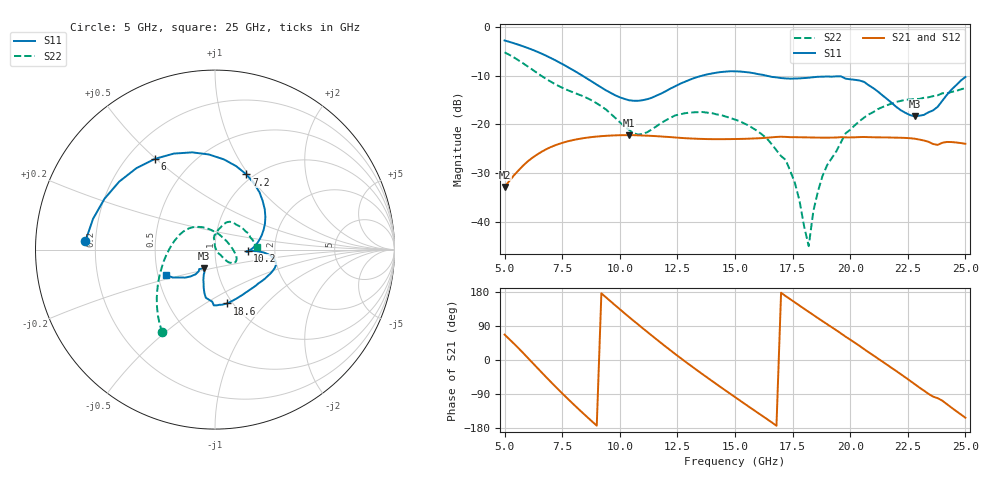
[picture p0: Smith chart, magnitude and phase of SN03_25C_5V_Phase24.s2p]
!File name = SN03_25C_5V_Phase24.s2p
!Date = 2/3/2014
!Time = 2:36 PM
!Test duration(min) = 0.07
!Test = SPars
!MPTS version = 7.120.8
!Comments =
!set_LD1(binary) = 24
!set_LD2(binary) = 524263
!test = SPars
!date_code = 20140203
!file_name = SN03_25C_5V_Phase24.s2p
!VREF(V) = 5.000
!VREF(mA) = 0.001
# GHz  S  DB  R  50
!%	Freq(GHz)  S11(dB)  S11(deg)  S21(dB)  S21(deg)  S12(dB)  S12(deg)  S22(dB)  S22(deg)
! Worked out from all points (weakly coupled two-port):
!   101 points, 5 GHz to 25 GHz, reference 50 ohm
!   highest |S21| = -22.18 dB at 10.4 GHz (marker M1); lowest = -32.8 dB at 5 GHz (marker M2)
!   lowest |S11| = -18.3 dB at 22.8 GHz (marker M3), VSWR 1.28, Z = 43.4 - j9.22 ohm
!   |S11| at or under -10 dB: 8.373 GHz to 13.59 GHz (5.215 GHz wide, 47.5 % of centre); 16.35 GHz to end of sweep
!   |S22| runs from -44.9 to -5.2 dB; largest |S21 - S12| = 0.00036
!   S11 on the Smith chart (normalised r, x): 5 GHz: 0.16, +0.03; 6 GHz: 0.31, +0.50; 7.2 GHz: 0.93, +0.98; 10.2 GHz: 1.45, -0.03; 18.6 GHz: 0.94, -0.62; 25 GHz: 0.55, -0.17
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5  -2.81 176.2  -32.78 67.0  -32.79 67.0  -5.24 -122.5
6  -4.34 123.5  -27.56 6.1  -27.58 6.1  -8.12 -145.0
6.6  -5.50 93.6  -25.59 -32.2  -25.61 -32.2  -10.06 -161.2
7.2  -6.86 67.3  -24.24 -69.8  -24.27 -69.7  -11.78 -179.3
8.4  -10.08 27.4  -22.81 -140.2  -22.84 -140.1  -14.21 145.1
10.2  -14.76 -2.8  -22.18 123.7  -22.21 123.9  -20.42 86.8
10.4  -15.04 -3.5  -22.18 113.5  -22.20 113.7  -21.08 75.3
11  -15.02 -3.3  -22.26 83.6  -22.27 83.6  -21.91 34.9
11.8  -13.66 -1.9  -22.45 44.5  -22.46 44.5  -19.68 -3.1
13.2  -10.54 -5.0  -22.89 -20.2  -22.88 -20.3  -17.51 -26.2
15  -9.13 -15.3  -22.97 -97.9  -22.97 -98.0  -19.00 -40.8
17.2  -10.58 -50.1  -22.53 168.7  -22.55 168.7  -27.23 -44.0
17.6  -10.60 -58.7  -22.59 152.0  -22.61 152.0  -31.93 -46.2
18.2  -10.44 -70.8  -22.64 127.0  -22.66 127.0  -44.88 49.2
18.4  -10.33 -74.3  -22.67 118.8  -22.68 118.8  -37.70 81.7
18.6  -10.24 -77.5  -22.68 110.6  -22.69 110.7  -33.68 93.7
19  -10.19 -83.1  -22.70 94.5  -22.71 94.5  -28.30 95.9
19.8  -10.62 -92.7  -22.63 61.6  -22.65 61.7  -21.80 91.9
21.8  -15.57 -112.5  -22.67 -20.9  -22.69 -20.8  -15.73 67.6
22.8  -18.33 -120.2  -22.90 -63.7  -22.92 -63.6  -14.79 52.8
23.6  -17.11 -128.9  -23.99 -96.7  -24.01 -96.6  -14.20 36.4
25  -10.29 -152.1  -23.93 -152.3  -23.95 -152.3  -12.55 3.6
